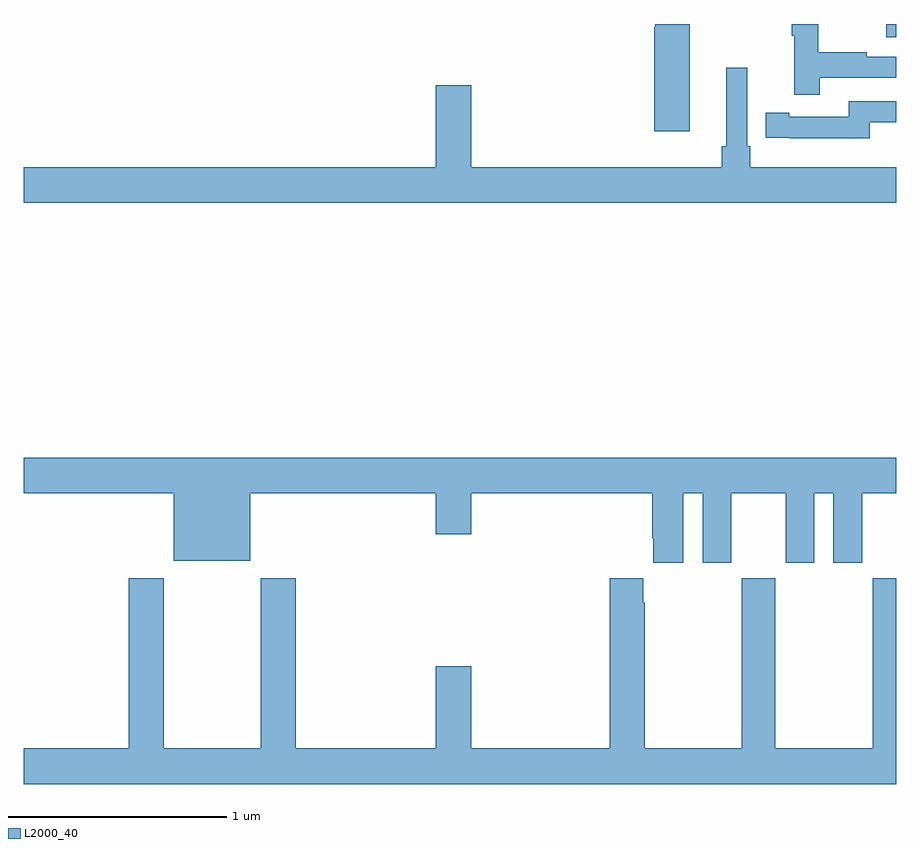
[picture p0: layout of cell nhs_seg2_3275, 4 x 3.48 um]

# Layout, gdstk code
import gdstk
lib = gdstk.Library(unit=1e-6, precision=1e-09)
def R(c, l, rs):  # rectangles x0, y0, x1, y1
    for r in rs: c.add(gdstk.rectangle(r[:2], r[2:], *l))
def P(c, l, *ps):  # polygons
    for p in ps: c.add(gdstk.Polygon(p, *l))
L2000_40 = (2000, 40)

nhs_seg2_3275 = lib.new_cell('nhs_seg2_3275')
R(nhs_seg2_3275, L2000_40, [(286.953,637.739,287,637.8)])
P(nhs_seg2_3275, L2000_40, [(286.054,637.8),(285.896,637.8),(285.896,637.785),(285.89,637.785),(285.89,637.308),(286.054,637.308)],
  [(286.649,637.554),(287,637.554),(287,637.65),(286.865,637.65),(286.865,637.67),(286.642,637.67),(286.642,637.8),(286.521,637.8),(286.521,637.747),(286.532,637.747),(286.532,637.476),(286.649,637.476)],
  [(286.878,637.35),(287,637.35),(287,637.446),(286.782,637.446),(286.782,637.374),(286.51,637.374),(286.51,637.394),(286.402,637.394),(286.402,637.278),(286.51,637.278),(286.51,637.277),(286.878,637.277)],
  [(286.317,637.24),(286.317,637.6),(286.22,637.6),(286.22,637.24),(286.201,637.24),(286.201,637.144),(285.052,637.144),(285.052,637.519),(284.888,637.519),(284.888,637.144),(283,637.144),(283,636.98),(287,636.98),(287,637.144),(286.331,637.144),(286.331,637.24)],
  [(286.024,635.648),(286.112,635.648),(286.112,635.331),(286.243,635.331),(286.243,635.648),(286.493,635.648),(286.493,635.331),(286.624,635.331),(286.624,635.648),(286.712,635.648),(286.712,635.331),(286.843,635.331),(286.843,635.648),(287,635.648),(287,635.812),(283,635.812),(283,635.648),(283.688,635.648),(283.688,635.339),(284.038,635.339),(284.038,635.648),(284.888,635.648),(284.888,635.46),(285.052,635.46),(285.052,635.648),(285.881,635.648),(285.881,635.443),(285.887,635.443),(285.887,635.331),(286.024,635.331)],
  [(287,635.26),(286.891,635.26),(286.891,634.48),(286.446,634.48),(286.446,635.26),(286.291,635.26),(286.291,634.48),(285.846,634.48),(285.846,635.147),(285.841,635.147),(285.841,635.26),(285.686,635.26),(285.686,634.48),(285.052,634.48),(285.052,634.855),(284.888,634.855),(284.888,634.48),(284.246,634.48),(284.246,635.26),(284.086,635.26),(284.086,634.48),(283.641,634.48),(283.641,635.26),(283.481,635.26),(283.481,634.48),(283,634.48),(283,634.316),(287,634.316)])

lib.write_gds('nhs_seg2_3275.gds')
